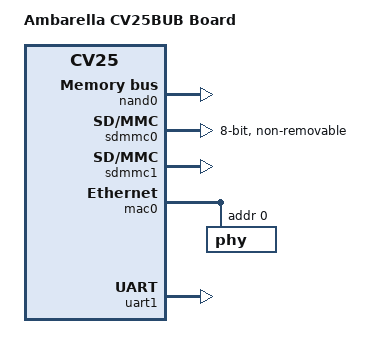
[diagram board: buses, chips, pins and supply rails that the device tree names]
/*
 * Copyright (C) 2013 Ambarella,Inc. - http://www.ambarella.com/
 * Author: Cao Rongrong <rrcao@ambarella.com>
 *
 * This program is free software; you can redistribute it and/or modify
 * it under the terms of the GNU General Public License version 2 as
 * published by the Free Software Foundation.
 */
/dts-v1/;

/include/ "ambarella-cv25-ambalink.dtsi"

/ {
	model = "Ambarella CV25BUB Board";
	compatible = "ambarella,cv25bub", "ambarella,cv25";

	aliases {
		emmc = &sdmmc0;
	};

	chosen {
	};

	n_apb@e4000000 {
		uart0: uart@e4000000 {
			status = "disabled";
		};
	};

	n_ahb@e0000000 {
		nand0: nand@e0002000 {
			status = "ok";
		};
		sdmmc0: sdmmc0@e0004000 {
			//Modify start byte addr and size to 64bits.
			#address-cells = <2>;
			#size-cells = <2>;
			/*pwr-gpios = <&gpio 81 0x1>; */
			/*v18-gpios = <&gpio 105 0x1>;*/
			amb,fixed-cd = <1>;
			keep-power-in-suspend;
			no-1-8-v;
			max-frequency = <25000000>;
			non-removable;
			bus-width = <8>;
			status = "ok";
		};

		sdmmc1: sdmmc1@e0005000 {
			/*pwr-gpios = <&gpio 80 0x1>; */
			/*v18-gpios = <&gpio 0 0x1>;*/
			keep-power-in-suspend;
			no-1-8-v;
			max-frequency = <50000000>;
			status = "ok";
		};

		sdmmc2: sdmmc2@e0016000 {
			status = "disabled";
		};

		dma0: dma@e0020000 {
			/* amb,dma-startchannel = <2>; */ /* Prevent conflict between RTOS. */
			status = "disabled";
		};

		dma1: dma@e0021000 {
			/* amb,dma-startchannel = <2>; */ /* Prevent conflict between RTOS. */
			status = "disabled";
		};
#if 1
		mac0: ethernet@e000e000 {
			amb,tx-clk-invert;
			phy@0 {
				reg = <0>;
			};
		};
#else
		mac0: ethernet@e000e000 {
			device_type 	= "network";
			compatible	= "st,stih416-dwmac", "snps,dwmac", "snps,dwmac-3.710";
			status 		= "ok";
			reg		= <0xe000e000 0x8000>;
			reg-names	= "stmmaceth";
			interrupts = <0 58 0x4>;
			interrupt-names = "macirq";
			snps,pbl 	= <32>;
			snps,mixed-burst;
			snps,scr-regmap = <&scratchpad_syscon>;
#if 0
			phy-handle = <&ethernet_phy>;
			mdio {
				compatible = "snps,dwmac-mdio";
				ethernet_phy: ethernet-phy@0 {
					reg = <0>;
					compatible = "ethernet-phy-id0007.0570";
				};
			};
#endif
		};
#endif

		uart1: uart@e0017000 {
			/*/delete-property/ amb,msr-used;    */
			/delete-property/ amb,txdma-used;
			/delete-property/ amb,rxdma-used;
			status = "ok";
		};
		uart2: uart@e0018000 {
			/*/delete-property/ amb,msr-used;    */
			/delete-property/ amb,txdma-used;
			/delete-property/ amb,rxdma-used;
			status = "disabled";
		};

		uart3: uart@e0019000 {
			/*/delete-property/ amb,msr-used;    */
			/delete-property/ amb,txdma-used;
			/delete-property/ amb,rxdma-used;
			status = "disabled";
		};

		uart4: uart@e001a000 {
			/*/delete-property/ amb,msr-used;    */
			/delete-property/ amb,txdma-used;
			/delete-property/ amb,rxdma-used;
			status = "disabled";
		};
	};

	rct@ed080000 {
		usbphy: usbphy@ed080050 {
			/* high will trigger the ocp interrupt */
			amb,ocp-polarity = <0>;
			pinctrl-names = "default";
			pinctrl-0 = <&usb_host0_pins_d>;
			/*status = "disabled";*/
		};
	};

	/* for profiling, see aipc_profile.c */
	profile_timer {
		compatible = "ambarella,timer19";
		reg = <0xe4006088 0x4>;
	};

	ambalink {
		compatible = "simple-bus";
		#address-cells = <1>;
		#size-cells = <1>;

		aipc_mutex: ambarella-ipc-mutex {
			compatible = "ambarella,ipc-mutex";
			interrupts = <0 96 0x4>;
			amb,scr-regmap = <&scratchpad_syscon>;
		};

		/* must be consistent with ambalink_cfg.h */
		rproc0: ambarella-rproc {
			compatible = "ambarella,rproc";
			interrupts = <0 91 0x4>,	/* rvq_rx_irq, get rvq kick from rtos */
				     <0 92 0x4>;	/* svq_rx_irq, get svq ack from rtos */
			amb,scr-regmap = <&scratchpad_syscon>;
		};
	};

};
